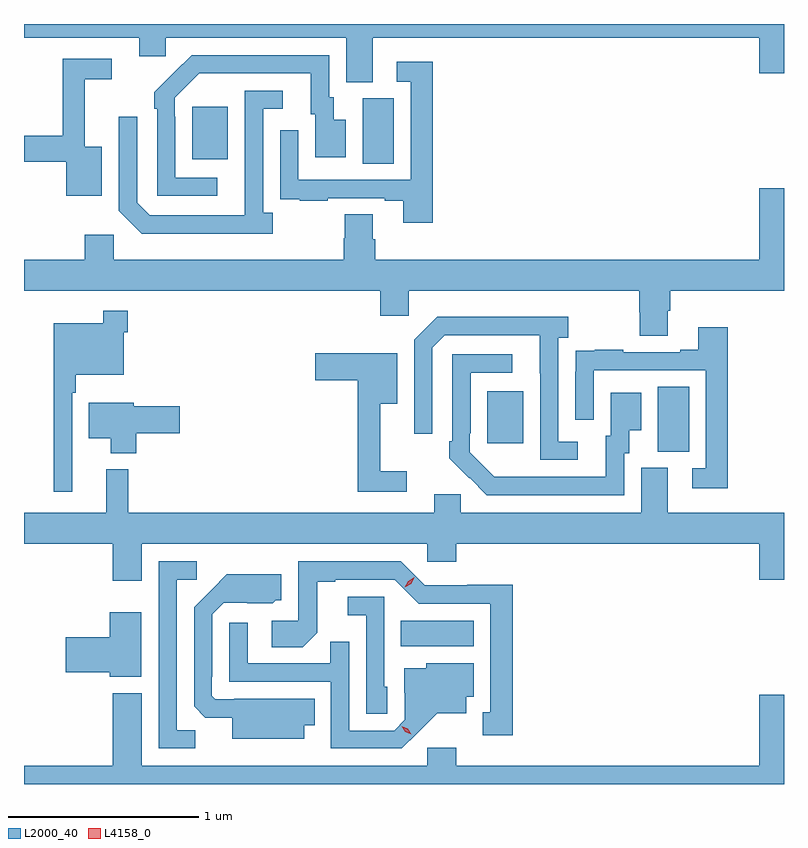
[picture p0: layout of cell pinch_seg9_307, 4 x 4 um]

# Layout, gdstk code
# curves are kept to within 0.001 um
import gdstk
lib = gdstk.Library(unit=1e-6, precision=1e-09)
def R(c, l, rs):  # rectangles x0, y0, x1, y1
    for r in rs: c.add(gdstk.rectangle(r[:2], r[2:], *l))
def P(c, l, *ps):  # polygons
    for p in ps: c.add(gdstk.Polygon(p, *l))
L2000_40 = (2000, 40)
L4158_0 = (4158, 0)

pinch_seg9_307 = lib.new_cell('pinch_seg9_307')
R(pinch_seg9_307, L2000_40, [(642.64,1178.564,643.024,1178.698), (643.994,1179.589,644.158,1179.932), (643.097,1179.633,643.285,1179.907), (642.44,1181.104,642.604,1181.448), (641.543,1181.129,641.731,1181.404)])
P(pinch_seg9_307, L2000_40, [(642.493,1181.768),(644.528,1181.768),(644.528,1181.58),(644.658,1181.58),(644.658,1181.84),(640.658,1181.84),(640.658,1181.768),(641.264,1181.768),(641.264,1181.67),(641.403,1181.67),(641.403,1181.768),(642.353,1181.768),(642.353,1181.533),(642.493,1181.533)],
  [(641.674,1181.031),(641.454,1181.031),(641.454,1181.351),(641.451,1181.351),(641.451,1181.451),(641.58,1181.58),(642.167,1181.58),(642.167,1181.364),(642.191,1181.364),(642.191,1181.139),(642.352,1181.139),(642.352,1181.335),(642.289,1181.335),(642.289,1181.454),(642.264,1181.454),(642.264,1181.676),(641.54,1181.676),(641.343,1181.481),(641.343,1181.393),(641.358,1181.393),(641.358,1180.935),(641.674,1180.935)],
  [(641.068,1181.194),(640.979,1181.194),(640.979,1181.55),(641.119,1181.55),(641.119,1181.658),(640.861,1181.658),(640.861,1181.252),(640.658,1181.252),(640.658,1181.116),(640.881,1181.116),(640.881,1180.937),(641.068,1180.937)],
  [(642.809,1181.641),(642.621,1181.641),(642.621,1181.535),(642.693,1181.535),(642.693,1181.019),(642.102,1181.019),(642.102,1181.281),(642.006,1181.281),(642.006,1181.026),(642.007,1181.026),(642.007,1180.917),(642.109,1180.917),(642.109,1180.911),(642.257,1180.911),(642.257,1180.923),(642.557,1180.923),(642.557,1180.911),(642.653,1180.911),(642.653,1180.794),(642.809,1180.794)],
  [(641.968,1180.846),(641.916,1180.846),(641.916,1181.394),(642.019,1181.394),(642.019,1181.49),(641.82,1181.49),(641.819,1180.833),(641.319,1180.833),(641.253,1180.899),(641.253,1181.353),(641.157,1181.353),(641.157,1180.857),(641.278,1180.736),(641.968,1180.736)],
  [(644.047,1180.33),(644.06,1180.33),(644.06,1180.436),(644.658,1180.436),(644.658,1180.975),(644.528,1180.975),(644.528,1180.6),(642.506,1180.6),(642.506,1180.706),(642.493,1180.706),(642.493,1180.838),(642.346,1180.838),(642.346,1180.713),(642.341,1180.713),(642.341,1180.6),(641.13,1180.6),(641.13,1180.732),(640.979,1180.732),(640.979,1180.6),(640.658,1180.6),(640.658,1180.436),(642.533,1180.436),(642.533,1180.305),(642.684,1180.305),(642.684,1180.436),(643.895,1180.436),(643.895,1180.323),(643.9,1180.323),(643.9,1180.198),(644.047,1180.198)],
  [(640.911,1179.899),(640.931,1179.899),(640.931,1179.995),(641.184,1179.995),(641.184,1180.217),(641.204,1180.217),(641.204,1180.33),(641.076,1180.33),(641.076,1180.264),(640.814,1180.264),(640.814,1179.378),(640.911,1179.378)],
  [(643.573,1179.642),(643.47,1179.642),(643.47,1180.19),(643.522,1180.19),(643.522,1180.3),(642.832,1180.3),(642.711,1180.179),(642.711,1179.684),(642.807,1179.684),(642.807,1180.137),(642.873,1180.203),(643.373,1180.203),(643.374,1179.546),(643.573,1179.546)],
  [(644.363,1180.243),(644.207,1180.243),(644.207,1180.126),(644.111,1180.126),(644.111,1180.113),(643.811,1180.113),(643.811,1180.126),(643.663,1180.126),(643.663,1180.119),(643.561,1180.119),(643.561,1180.01),(643.56,1180.01),(643.56,1179.756),(643.656,1179.756),(643.656,1180.017),(644.247,1180.017),(644.247,1179.501),(644.175,1179.501),(644.175,1179.396),(644.363,1179.396)],
  [(642.673,1179.487),(642.533,1179.487),(642.533,1179.842),(642.622,1179.842),(642.622,1180.107),(642.192,1180.107),(642.192,1179.965),(642.415,1179.965),(642.415,1179.378),(642.673,1179.378)],
  [(643.818,1179.582),(643.843,1179.582),(643.843,1179.701),(643.906,1179.701),(643.906,1179.898),(643.745,1179.898),(643.745,1179.672),(643.721,1179.672),(643.721,1179.456),(643.134,1179.457),(643.005,1179.585),(643.005,1179.685),(643.008,1179.685),(643.008,1180.005),(643.228,1180.005),(643.228,1180.101),(642.912,1180.101),(642.912,1179.643),(642.897,1179.643),(642.897,1179.555),(643.094,1179.36),(643.818,1179.36)],
  [(641.249,1179.685),(641.479,1179.685),(641.479,1179.827),(641.236,1179.827),(641.236,1179.847),(641,1179.847),(641,1179.659),(641.114,1179.659),(641.114,1179.581),(641.249,1179.581)],
  [(641.278,1179.104),(642.78,1179.104),(642.78,1179.011),(642.932,1179.011),(642.932,1179.104),(644.528,1179.104),(644.528,1178.916),(644.658,1178.916),(644.658,1179.268),(644.047,1179.268),(644.047,1179.504),(643.907,1179.504),(643.907,1179.268),(642.957,1179.268),(642.957,1179.366),(642.818,1179.366),(642.818,1179.268),(641.207,1179.268),(641.207,1179.496),(641.09,1179.496),(641.09,1179.268),(640.658,1179.268),(640.658,1179.104),(641.126,1179.104),(641.126,1178.91),(641.278,1178.91)],
  [(643.231,1178.888),(642.99,1178.888),(642.99,1178.886),(642.768,1178.886),(642.642,1179.012),(642.102,1179.012),(642.102,1178.7),(641.961,1178.7),(641.961,1178.56),(642.125,1178.56),(642.201,1178.636),(642.201,1178.904),(642.295,1178.904),(642.295,1178.916),(642.609,1178.916),(642.735,1178.79),(643.112,1178.79),(643.112,1178.217),(643.073,1178.217),(643.073,1178.097),(643.231,1178.097)],
  [(641.559,1178.123),(641.463,1178.123),(641.463,1178.916),(641.566,1178.916),(641.566,1179.012),(641.367,1179.012),(641.367,1178.028),(641.559,1178.028)],
  [(642.133,1178.15),(642.188,1178.15),(642.188,1178.29),(641.764,1178.29),(641.764,1178.286),(641.664,1178.286),(641.646,1178.304),(641.646,1178.404),(641.649,1178.404),(641.649,1178.733),(641.709,1178.793),(641.966,1178.792),(641.982,1178.808),(642.013,1178.808),(642.013,1178.944),(641.725,1178.944),(641.553,1178.77),(641.553,1178.248),(641.612,1178.189),(641.753,1178.189),(641.753,1178.078),(642.133,1178.078)],
  [(642.57,1178.352),(642.555,1178.352),(642.555,1178.826),(642.363,1178.826),(642.363,1178.729),(642.459,1178.729),(642.459,1178.209),(642.57,1178.209)],
  [(641.275,1178.743),(641.108,1178.743),(641.108,1178.612),(640.878,1178.612),(640.878,1178.429),(641.108,1178.429),(641.108,1178.405),(641.275,1178.405)],
  [(642.73,1178.111),(642.833,1178.213),(642.985,1178.213),(642.985,1178.3),(643.024,1178.3),(643.024,1178.476),(642.774,1178.476),(642.774,1178.449),(642.659,1178.449),(642.659,1178.32),(642.663,1178.32),(642.663,1178.178),(642.606,1178.121),(642.369,1178.121),(642.369,1178.588),(642.271,1178.588),(642.271,1178.475),(641.835,1178.475),(641.835,1178.689),(641.739,1178.689),(641.739,1178.379),(642.273,1178.379),(642.273,1178.028),(642.646,1178.028)],
  [(644.658,1178.311),(644.528,1178.311),(644.528,1177.936),(642.932,1177.936),(642.932,1178.032),(642.78,1178.032),(642.78,1177.936),(641.278,1177.936),(641.278,1178.317),(641.126,1178.317),(641.126,1177.936),(640.658,1177.936),(640.658,1177.84),(644.658,1177.84)])
P(pinch_seg9_307, L4158_0, [(642.662,1178.876),(642.662,1178.876),(642.68,1178.908),(642.712,1178.927),(642.712,1178.927),(642.712,1178.926),(642.695,1178.894),(642.663,1178.876)],
  [(642.695,1178.101),(642.664,1178.115),(642.646,1178.144),(642.646,1178.144),(642.646,1178.144),(642.677,1178.13),(642.695,1178.101),(642.695,1178.101)])

lib.write_gds('pinch_seg9_307.gds')
